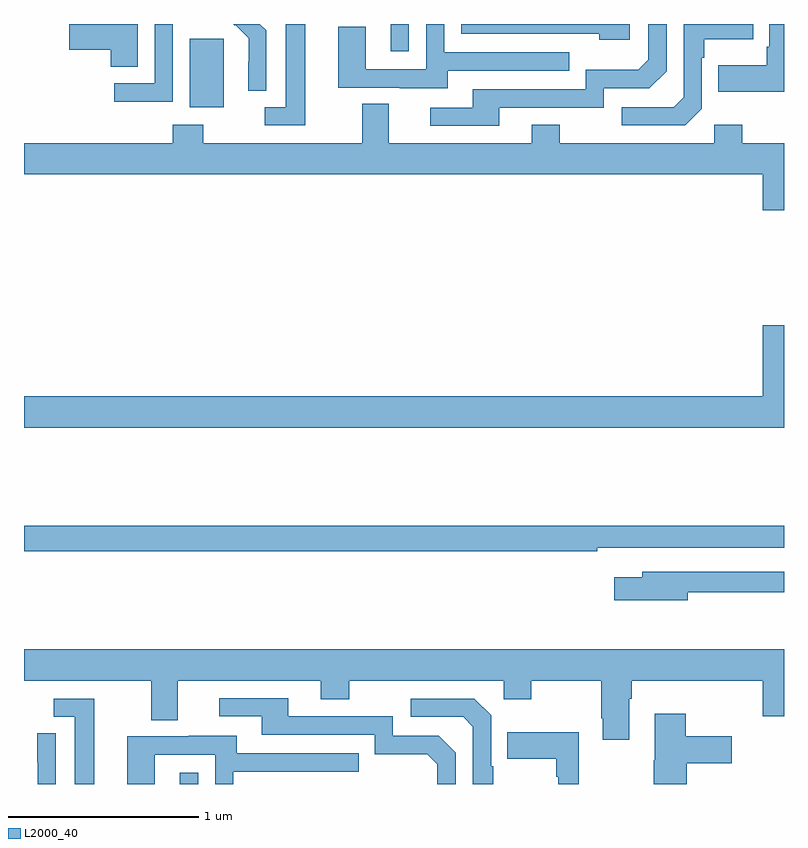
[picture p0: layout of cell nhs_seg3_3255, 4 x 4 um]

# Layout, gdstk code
import gdstk
lib = gdstk.Library(unit=1e-6, precision=1e-09)
def R(c, l, rs):  # rectangles x0, y0, x1, y1
    for r in rs: c.add(gdstk.rectangle(r[:2], r[2:], *l))
def P(c, l, *ps):  # polygons
    for p in ps: c.add(gdstk.Polygon(p, *l))
L2000_40 = (2000, 40)

nhs_seg3_3255 = lib.new_cell('nhs_seg3_3255')
R(nhs_seg3_3255, L2000_40, [(281.819,672.4,281.916,672.46), (281.873,675.962,282.052,676.323), (282.929,676.257,283.026,676.4)])
P(nhs_seg3_3255, L2000_40, [(281.599,676.4),(281.238,676.4),(281.238,676.265),(281.456,676.265),(281.456,676.174),(281.599,676.174)],
  [(281.784,676.4),(281.688,676.4),(281.688,676.089),(281.475,676.089),(281.475,675.991),(281.784,675.991)],
  [(282.276,676.366),(282.242,676.4),(282.1,676.4),(282.108,676.392),(282.111,676.395),(282.182,676.325),(282.182,676.202),(282.18,676.202),(282.18,676.048),(282.276,676.048)],
  [(284.188,676.4),(283.302,676.4),(283.302,676.35),(284.027,676.35),(284.027,676.316),(284.188,676.316)],
  [(285,676.4),(284.922,676.4),(284.922,676.279),(284.91,676.279),(284.91,676.183),(284.653,676.183),(284.653,676.043),(285,676.043)],
  [(283.501,675.96),(284.052,675.96),(284.052,676.062),(284.292,676.062),(284.382,676.152),(284.382,676.4),(284.286,676.4),(284.286,676.212),(284.233,676.159),(283.956,676.159),(283.956,676.056),(283.361,676.056),(283.361,675.96),(283.137,675.96),(283.137,675.864),(283.501,675.864)],
  [(284.568,675.954),(284.568,676.223),(284.581,676.223),(284.581,676.319),(284.837,676.319),(284.837,676.4),(284.472,676.4),(284.472,676.014),(284.421,675.963),(284.145,675.963),(284.145,675.867),(284.481,675.867)],
  [(283.231,676.155),(283.871,676.155),(283.871,676.251),(283.212,676.251),(283.212,676.4),(283.116,676.4),(283.116,676.161),(282.798,676.161),(282.798,676.385),(282.653,676.385),(282.653,676.065),(282.977,676.065),(282.977,676.061),(283.231,676.061)],
  [(282.481,676.4),(282.377,676.4),(282.377,675.963),(282.267,675.963),(282.267,675.867),(282.481,675.867)],
  [(285,675.772),(284.781,675.772),(284.781,675.871),(284.634,675.871),(284.634,675.772),(283.821,675.772),(283.821,675.871),(283.673,675.871),(283.673,675.772),(282.919,675.772),(282.919,675.98),(282.779,675.98),(282.779,675.772),(281.943,675.772),(281.943,675.871),(281.783,675.871),(281.783,675.772),(281,675.772),(281,675.608),(284.888,675.608),(284.888,675.42),(285,675.42)],
  [(285,674.815),(284.888,674.815),(284.888,674.44),(281,674.44),(281,674.276),(285,674.276)],
  [(284.018,673.644),(285,673.644),(285,673.76),(281,673.76),(281,673.624),(284.018,673.624)],
  [(284.494,673.41),(285,673.41),(285,673.518),(284.255,673.518),(284.255,673.489),(284.106,673.489),(284.106,673.367),(284.494,673.367)],
  [(284.185,672.848),(284.198,672.848),(284.198,672.944),(284.888,672.944),(284.888,672.756),(285,672.756),(285,673.108),(281,673.108),(281,672.944),(281.669,672.944),(281.669,672.736),(281.809,672.736),(281.809,672.944),(282.563,672.944),(282.563,672.845),(282.711,672.845),(282.711,672.944),(283.524,672.944),(283.524,672.845),(283.671,672.845),(283.671,672.944),(284.038,672.944),(284.038,672.745),(284.045,672.745),(284.045,672.633),(284.185,672.633)],
  [(283.272,672.564),(283.182,672.654),(282.942,672.654),(282.942,672.756),(282.391,672.756),(282.391,672.852),(282.027,672.852),(282.027,672.756),(282.251,672.756),(282.251,672.66),(282.846,672.66),(282.846,672.557),(283.123,672.557),(283.176,672.504),(283.176,672.4),(283.272,672.4)],
  [(281.371,672.849),(281.157,672.849),(281.157,672.753),(281.267,672.753),(281.267,672.4),(281.371,672.4)],
  [(283.471,672.493),(283.458,672.493),(283.458,672.762),(283.371,672.849),(283.035,672.849),(283.035,672.753),(283.311,672.753),(283.362,672.702),(283.362,672.4),(283.471,672.4)],
  [(284.489,672.509),(284.725,672.509),(284.725,672.651),(284.484,672.651),(284.484,672.769),(284.321,672.769),(284.321,672.525),(284.314,672.525),(284.314,672.4),(284.489,672.4)],
  [(283.921,672.673),(283.543,672.673),(283.543,672.533),(283.8,672.533),(283.8,672.437),(283.812,672.437),(283.812,672.4),(283.921,672.4)],
  [(281.166,672.668),(281.07,672.668),(281.07,672.514),(281.072,672.514),(281.072,672.4),(281.166,672.4)],
  [(281.688,672.555),(282.006,672.555),(282.006,672.4),(282.102,672.4),(282.102,672.465),(282.761,672.465),(282.761,672.561),(282.121,672.561),(282.121,672.655),(281.867,672.655),(281.867,672.651),(281.543,672.651),(281.543,672.4),(281.688,672.4)])

lib.write_gds('nhs_seg3_3255.gds')
